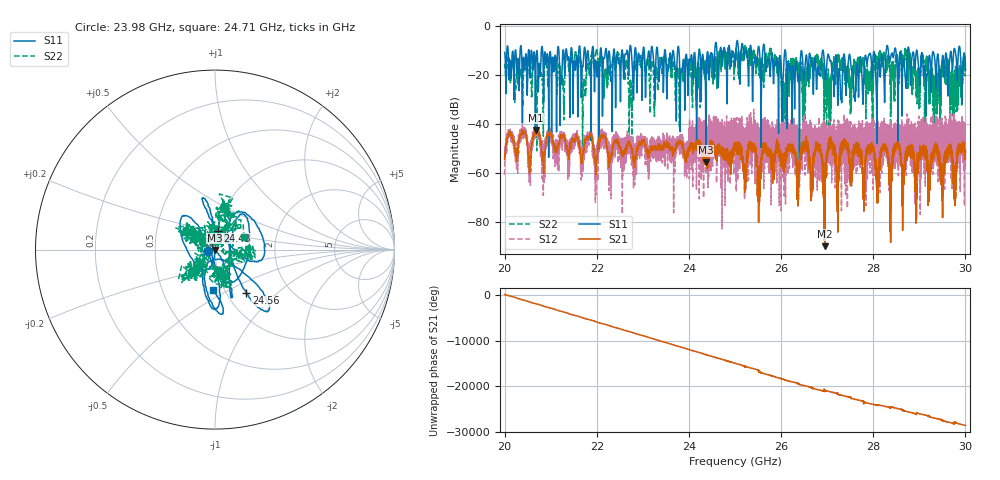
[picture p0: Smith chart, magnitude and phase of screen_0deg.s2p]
#  HZ  S  RI  R  50.00
! Rohde & Schwarz ZVA40 4Ports - Version 3.90 - 1145.1110k42 SN: 100403
! Date: 2023-09-06 05:59:24
! Measurements: S11 S21 S12 S22
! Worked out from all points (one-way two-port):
!   8001 points, 20 GHz to 30 GHz, reference 50 ohm
!   highest |S21| = -42.43 dB at 20.68 GHz (marker M1); lowest = -89.7 dB at 26.95 GHz (marker M2)
!   lowest |S11| = -55.5 dB at 24.36 GHz (marker M3), VSWR 1.00, Z = 50 - j0.167 ohm
!   |S11| at or under -10 dB: 26.09 GHz to 26.9 GHz (813.2 MHz wide, 3.07 % of centre); 26.91 GHz to 28.28 GHz (1.371 GHz wide, 4.97 % of centre); 28.78 GHz to 29.75 GHz (971.5 MHz wide, 3.32 % of centre)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
!   |S22| runs from -59.3 to -8.2 dB; largest |S21 - S12| = 0.019
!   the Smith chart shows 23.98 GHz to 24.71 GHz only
!   S11 on the Smith chart (normalised r, x): 23.98 GHz: 0.93, -0.01; 24.43 GHz: 1.01, +0.22; 24.56 GHz: 1.23, -0.66; 24.71 GHz: 0.89, -0.42
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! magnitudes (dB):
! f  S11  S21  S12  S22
! 20 GHz  -10.9  -54.5  -60.6  -15.5
! 20.68 GHz  -16.0  -42.4  -42.7  -22.8
! 21.67 GHz  -26.5  -53.9  -53.9  -18.4
! 23.33 GHz  -15.0  -48.7  -48.0  -23.5
! 23.98 GHz  -28.4  -53.0  -51.9  -18.4
! 24.36 GHz  -55.5  -53.7  -55.1  -16.0
! 24.43 GHz  -19.4  -51.9  -47.6  -19.8
! 24.56 GHz  -10.5  -50.6  -45.0  -15.1
! 24.71 GHz  -12.9  -50.1  -40.1  -15.1
! 25 GHz  -16.3  -48.2  -48.0  -13.7
! 25.79 GHz  -12.1  -58.3  -51.6  -10.9
! 26.06 GHz  -16.7  -53.5  -57.6  -26.9
! 26.27 GHz  -16.5  -50.1  -51.7  -15.9
! 26.54 GHz  -13.3  -48.8  -44.6  -21.3
! 26.67 GHz  -14.7  -64.4  -46.9  -13.2
! 26.8 GHz  -16.6  -49.9  -51.8  -14.0
! 26.95 GHz  -20.4  -89.7  -42.5  -22.9
! 27.06 GHz  -14.3  -50.3  -47.0  -23.3
! 27.27 GHz  -20.1  -57.1  -56.8  -14.2
! 28.33 GHz  -11.9  -53.7  -50.0  -11.9
! 29.35 GHz  -16.6  -49.8  -43.2  -22.7
! 30 GHz  -17.9  -52.1  -47.7  -18.7
